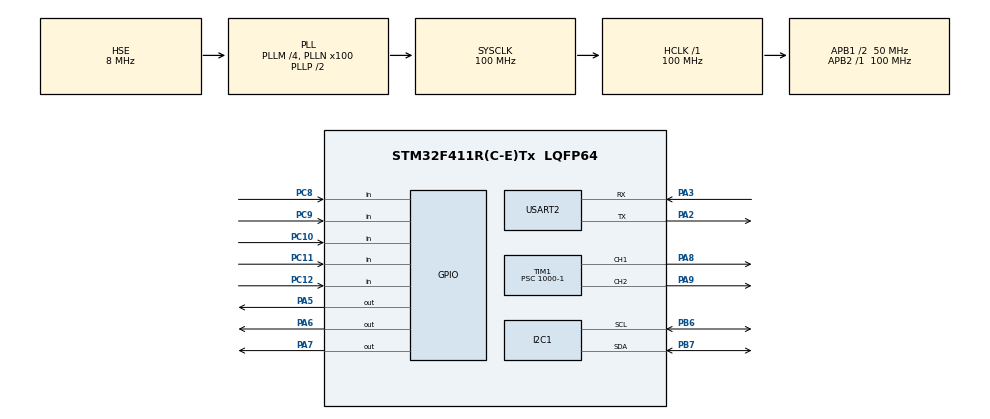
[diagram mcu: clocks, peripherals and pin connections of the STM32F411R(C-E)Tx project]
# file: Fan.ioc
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Mcu.Family=STM32F4
Mcu.Name=STM32F411R(C-E)Tx
Mcu.Package=LQFP64
NVIC.PriorityGroup=NVIC_PRIORITYGROUP_4
NVIC.TIM3_IRQn=true\:0\:0\:false\:false\:true\:true\:true\:true
NVIC.USART2_IRQn=true\:0\:0\:false\:false\:true\:true\:true\:true
PA13.Mode=Serial_Wire
PA13.Signal=SYS_JTMS-SWDIO
PA14.Mode=Serial_Wire
PA14.Signal=SYS_JTCK-SWCLK
PA2.Mode=Asynchronous
PA2.Signal=USART2_TX
PA3.Mode=Asynchronous
PA3.Signal=USART2_RX
PA5.Signal=GPIO_Output
PA6.Signal=GPIO_Output
PA7.Signal=GPIO_Output
PA8.Signal=S_TIM1_CH1
PA9.Signal=S_TIM1_CH2
PB6.Mode=I2C
PB6.Signal=I2C1_SCL
PB7.Mode=I2C
PB7.Signal=I2C1_SDA
PC10.Signal=GPIO_Input
PC11.Signal=GPIO_Input
PC12.Signal=GPIO_Input
PC8.Signal=GPIO_Input
PC9.Signal=GPIO_Input
PH0\ -\ OSC_IN.Mode=HSE-External-Oscillator
PH0\ -\ OSC_IN.Signal=RCC_OSC_IN
PH1\ -\ OSC_OUT.Mode=HSE-External-Oscillator
PH1\ -\ OSC_OUT.Signal=RCC_OSC_OUT
ProjectManager.HeapSize=0x200
ProjectManager.StackSize=0x400
ProjectManager.TargetToolchain=STM32CubeIDE
RCC.48MHZClocksFreq_Value=50000000
RCC.AHBFreq_Value=100000000
RCC.APB1CLKDivider=RCC_HCLK_DIV2
RCC.APB1Freq_Value=50000000
RCC.APB1TimFreq_Value=100000000
RCC.APB2Freq_Value=100000000
RCC.APB2TimFreq_Value=100000000
RCC.CortexFreq_Value=100000000
RCC.HCLKFreq_Value=100000000
RCC.HSE_VALUE=8000000
RCC.HSI_VALUE=16000000
RCC.LSE_VALUE=32768
RCC.PLLM=4
RCC.PLLN=100
RCC.PLLSourceVirtual=RCC_PLLSOURCE_HSE
RCC.SYSCLKFreq_VALUE=100000000
RCC.SYSCLKSource=RCC_SYSCLKSOURCE_PLLCLK
RCC.VCOOutputFreq_Value=200000000
SH.S_TIM1_CH1.0=TIM1_CH1,PWM Generation1 CH1
SH.S_TIM1_CH2.0=TIM1_CH2,PWM Generation2 CH2
TIM1.Channel-PWM\ Generation1\ CH1=TIM_CHANNEL_1
TIM1.Channel-PWM\ Generation2\ CH2=TIM_CHANNEL_2
TIM1.Period=1000-1
TIM1.Prescaler=1000-1
TIM1.Pulse-PWM\ Generation1\ CH1=0
TIM3.Period=10000-1
TIM3.Prescaler=10000-1
USART2.VirtualMode=VM_ASYNC
VP_TIM1_VS_ClockSourceINT.Mode=Internal
VP_TIM3_VS_ClockSourceINT.Mode=Internal
board=custom

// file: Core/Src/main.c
/* USER CODE BEGIN Header */
/**
  ******************************************************************************
  * @file           : main.c
  * @brief          : Main program body
  ******************************************************************************
  * @attention
  *
  * Copyright (c) 2023 STMicroelectronics.
  * All rights reserved.
  *
  * This software is licensed under terms that can be found in the LICENSE file
  * in the root directory of this software component.
  * If no LICENSE file comes with this software, it is provided AS-IS.
  *
  ******************************************************************************
  */
/* USER CODE END Header */
#include "main.h"
#include "i2c.h"
#include "tim.h"
#include "usart.h"
#include "gpio.h"

/* USER CODE BEGIN Includes */
#include "I2C_LCD.h"
#include "stdio.h"
#include "Button.h"
#include "Fan.h"
#include "LED.h"
/* USER CODE END Includes */

/* USER CODE BEGIN PD */
#define LED_COUNT 3
#define BUTTON_COUNT 5
/* USER CODE END PD */

/* USER CODE BEGIN PV */
uint8_t rotate_flag = 0;
uint8_t direction = 0;
uint8_t buffer[20];
Button btn[BUTTON_COUNT];
ROTATE_MOTOR rotate_motor;
FAN fan;
LED led[3];
GPIO_TypeDef *button_port[BUTTON_COUNT] = {GPIOC,GPIOC,GPIOC,GPIOC,GPIOC};
uint16_t button_pin[BUTTON_COUNT] ={GPIO_PIN_8,GPIO_PIN_9,GPIO_PIN_10,GPIO_PIN_11,GPIO_PIN_12};
GPIO_TypeDef *led_port[LED_COUNT] = {GPIOA,GPIOA,GPIOA};
uint16_t led_pin[LED_COUNT] = {GPIO_PIN_5,GPIO_PIN_6,GPIO_PIN_7};
uint8_t timer_flag = 0;
uint16_t time=0;
uint8_t rxData;
/* USER CODE END PV */

void SystemClock_Config(void);
/* USER CODE BEGIN PFP */
void HAL_TIM_PeriodElapsedCallback(TIM_HandleTypeDef *htim)
{

    if(timer_flag==1)
    {
      if(time>0){

        sprintf(buffer,"%02d:%02d     ",time/60,time%60);
        lcd_put_cur(1, 0);
        lcd_send_string(buffer);
        time--;
      }else
      {
        stop(&fan);
        for(int i =0; i<LED_COUNT; i++)
        {
          LED_turn_off(&led[i]);
        }
        lcd_put_cur(0,0);
        lcd_send_string("STOP   ");
        lcd_put_cur(1,0);
        lcd_send_string("INFINITE    ");
        timer_flag=0;
      }

  }
  HAL_TIM_Base_Start_IT(&htim3);
}
void HAL_UART_RxCpltCallback(UART_HandleTypeDef *huart)
{
    if(fan.state!=STOP){
      time = 60*(rxData-'0');
      timer_flag=1;
    }
    HAL_UART_Receive_IT(&huart2, &rxData, 1);
}
/* USER CODE END PFP */

int main(void)
{

  /* MCU Configuration--------------------------------------------------------*/

  /* Reset of all peripherals, Initializes the Flash interface and the Systick. */
  HAL_Init();

  /* Configure the system clock */
  SystemClock_Config();

  /* Initialize all configured peripherals */
  MX_GPIO_Init();
  MX_TIM1_Init();
  MX_I2C1_Init();
  MX_TIM3_Init();
  MX_USART2_UART_Init();
  /* USER CODE BEGIN 2 */
  HAL_TIM_PWM_Start(&htim1, TIM_CHANNEL_1);
  HAL_TIM_PWM_Start(&htim1, TIM_CHANNEL_2);
  HAL_TIM_Base_Start_IT(&htim3);
  HAL_UART_Receive_IT(&huart2, &rxData, 1);

  for(int i = 0; i<BUTTON_COUNT; i++)
  {
    Button_init(&btn[i],button_port[i],button_pin[i]);
  }
  for(int i = 0; i<LED_COUNT; i++)
  {
    LED_init(&led[i],led_port[i],led_pin[i]);
  }
  HAL_Delay(500);
  lcd_init();
  HAL_Delay(500);
  FAN_init(&fan,&htim1,TIM_CHANNEL_1);
  ROTATE_MOTOR_init(&rotate_motor, &htim1, TIM_CHANNEL_2);
  lcd_put_cur(0,0);
  lcd_send_string("STOP   ");
  lcd_put_cur(1,0);
  lcd_send_string("INFINITE    ");
  timer_flag=0;
  /* USER CODE END 2 */

  /* Infinite loop */
  while (1)
  {

    /* USER CODE BEGIN 3 */
    if(Button_getState(&btn[0])==ACT_PUSH)
    {
      stop(&fan);
      for(int i =0; i<LED_COUNT; i++)
      {
        LED_turn_off(&led[i]);
      }
      lcd_put_cur(0,0);
      lcd_send_string("STOP   ");
      lcd_put_cur(1,0);
      lcd_send_string("INFINITE    ");
      timer_flag=0;
    }
    if(Button_getState(&btn[1])==ACT_PUSH)
    {
     level1(&fan);
     for(int i =0; i<LED_COUNT; i++)
     {
       LED_turn_off(&led[i]);
     }

     LED_turn_on(&led[0]);
     lcd_put_cur(0,0);
     lcd_send_string("LEVEL 1");
    }
    if(Button_getState(&btn[2])==ACT_PUSH)
    {
       level2(&fan);
       for(int i =0; i<LED_COUNT; i++)
       {
         LED_turn_off(&led[i]);
       }
       LED_turn_on(&led[1]);
       lcd_put_cur(0,0);
       lcd_send_string("LEVEL 2");

    }
    if(Button_getState(&btn[3])==ACT_PUSH)
    {
     level3(&fan);

      for(int i =0; i<LED_COUNT; i++)
      {
        LED_turn_off(&led[i]);
      }
      LED_turn_on(&led[2]);
      lcd_put_cur(0,0);
      lcd_send_string("LEVEL 3");
    }
    if(Button_getState(&btn[4])==ACT_PUSH)
     {
         if(rotate_motor.state==ROTATE_STOP)
         {
           rotate_on(&rotate_motor);
           lcd_put_cur(0, 8);
           lcd_send_string("ROTATE");
         }
         else
         {
           rotate_off(&rotate_motor);
           lcd_put_cur(0, 8);
           lcd_send_string("      ");
         }
     }
    rotate(&fan, &rotate_motor);
  }
  /* USER CODE END 3 */
}

void SystemClock_Config(void)
{
  RCC_OscInitTypeDef RCC_OscInitStruct = {0};
  RCC_ClkInitTypeDef RCC_ClkInitStruct = {0};

  /** Configure the main internal regulator output voltage
  */
  __HAL_RCC_PWR_CLK_ENABLE();
  __HAL_PWR_VOLTAGESCALING_CONFIG(PWR_REGULATOR_VOLTAGE_SCALE1);

  /** Initializes the RCC Oscillators according to the specified parameters
  * in the RCC_OscInitTypeDef structure.
  */
  RCC_OscInitStruct.OscillatorType = RCC_OSCILLATORTYPE_HSE;
  RCC_OscInitStruct.HSEState = RCC_HSE_ON;
  RCC_OscInitStruct.PLL.PLLState = RCC_PLL_ON;
  RCC_OscInitStruct.PLL.PLLSource = RCC_PLLSOURCE_HSE;
  RCC_OscInitStruct.PLL.PLLM = 4;
  RCC_OscInitStruct.PLL.PLLN = 100;
  RCC_OscInitStruct.PLL.PLLP = RCC_PLLP_DIV2;
  RCC_OscInitStruct.PLL.PLLQ = 4;
  if (HAL_RCC_OscConfig(&RCC_OscInitStruct) != HAL_OK)
  {
    Error_Handler();
  }

  /** Initializes the CPU, AHB and APB buses clocks
  */
  RCC_ClkInitStruct.ClockType = RCC_CLOCKTYPE_HCLK|RCC_CLOCKTYPE_SYSCLK
                              |RCC_CLOCKTYPE_PCLK1|RCC_CLOCKTYPE_PCLK2;
  RCC_ClkInitStruct.SYSCLKSource = RCC_SYSCLKSOURCE_PLLCLK;
  RCC_ClkInitStruct.AHBCLKDivider = RCC_SYSCLK_DIV1;
  RCC_ClkInitStruct.APB1CLKDivider = RCC_HCLK_DIV2;
  RCC_ClkInitStruct.APB2CLKDivider = RCC_HCLK_DIV1;

  if (HAL_RCC_ClockConfig(&RCC_ClkInitStruct, FLASH_LATENCY_3) != HAL_OK)
  {
    Error_Handler();
  }
}

void Error_Handler(void)
{
  __disable_irq();
  while (1)
  {
  }
}
